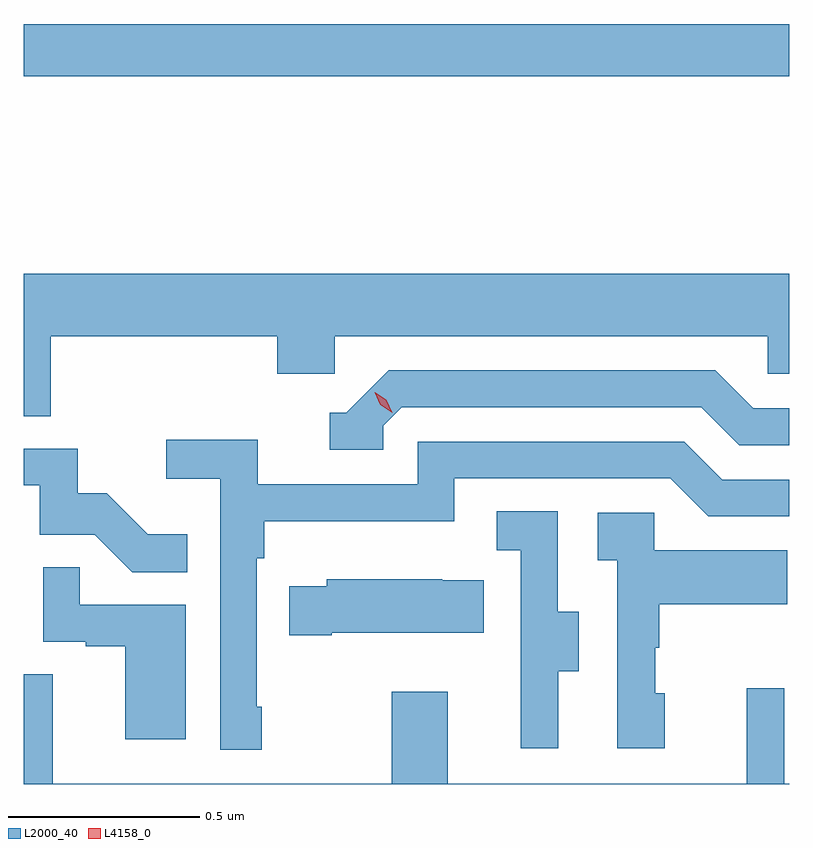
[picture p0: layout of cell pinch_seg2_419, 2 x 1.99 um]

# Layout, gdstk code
import gdstk
lib = gdstk.Library(unit=1e-6, precision=1e-09)
def R(c, l, rs):  # rectangles x0, y0, x1, y1
    for r in rs: c.add(gdstk.rectangle(r[:2], r[2:], *l))
def P(c, l, *ps):  # polygons
    for p in ps: c.add(gdstk.Polygon(p, *l))
L2000_40 = (2000, 40)
L4158_0 = (4158, 0)

pinch_seg2_419 = lib.new_cell('pinch_seg2_419')
R(pinch_seg2_419, L2000_40, [(951.855,624.34,953.855,624.476)])
P(pinch_seg2_419, L2000_40, [(951.926,623.66),(952.517,623.66),(952.517,623.562),(952.668,623.562),(952.668,623.66),(953.799,623.66),(953.799,623.562),(953.855,623.562),(953.855,623.824),(951.855,623.824),(951.855,623.452),(951.926,623.452)],
  [(952.794,623.427),(952.842,623.475),(953.625,623.475),(953.724,623.376),(953.855,623.376),(953.855,623.472),(953.761,623.472),(953.662,623.571),(952.809,623.571),(952.698,623.46),(952.655,623.46),(952.655,623.364),(952.794,623.364)],
  [(952.477,622.693),(952.464,622.693),(952.464,623.081),(952.484,623.081),(952.484,623.177),(952.98,623.177),(952.98,623.289),(953.544,623.289),(953.643,623.19),(953.855,623.19),(953.855,623.286),(953.68,623.286),(953.581,623.385),(952.884,623.385),(952.884,623.274),(952.466,623.274),(952.466,623.39),(952.227,623.39),(952.227,623.288),(952.368,623.288),(952.368,622.581),(952.477,622.581)],
  [(952.283,623.143),(952.179,623.143),(952.072,623.25),(951.996,623.25),(951.996,623.367),(951.855,623.367),(951.855,623.271),(951.897,623.271),(951.897,623.142),(952.041,623.142),(952.139,623.044),(952.283,623.044)],
  [(953.251,622.786),(953.305,622.786),(953.305,622.941),(953.25,622.941),(953.25,623.204),(953.091,623.204),(953.091,623.101),(953.154,623.101),(953.154,622.797),(953.153,622.797),(953.153,622.584),(953.251,622.584)],
  [(953.53,622.728),(953.505,622.728),(953.505,622.847),(953.515,622.847),(953.515,622.961),(953.849,622.961),(953.849,623.101),(953.502,623.101),(953.502,623.199),(953.355,623.199),(953.355,623.075),(953.406,623.075),(953.406,622.584),(953.53,622.584)],
  [(952.279,622.959),(952.001,622.959),(952.001,623.057),(951.906,623.057),(951.906,622.863),(952.017,622.863),(952.017,622.851),(952.121,622.851),(952.121,622.608),(952.279,622.608)],
  [(952.66,622.886),(953.057,622.886),(953.057,623.023),(952.949,623.023),(952.949,623.026),(952.647,623.026),(952.647,623.008),(952.549,623.008),(952.549,622.879),(952.66,622.879)],
  [(953.855,622.492),(953.841,622.492),(953.841,622.741),(953.744,622.741),(953.744,622.492),(952.963,622.492),(952.963,622.732),(952.816,622.732),(952.816,622.492),(951.931,622.492),(951.931,622.778),(951.855,622.778),(951.855,622.491),(953.855,622.491)])
P(pinch_seg2_419, L4158_0, [(952.818,623.461),(952.787,623.481),(952.772,623.514),(952.772,623.514),(952.772,623.514),(952.802,623.494),(952.818,623.461),(952.818,623.461)])

lib.write_gds('pinch_seg2_419.gds')
